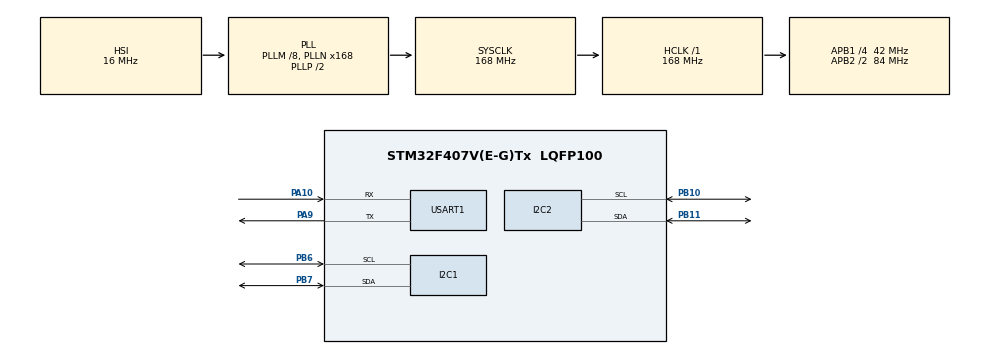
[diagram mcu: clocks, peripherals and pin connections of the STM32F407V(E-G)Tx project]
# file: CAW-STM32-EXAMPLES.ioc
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Dma.I2C2_TX.0.Direction=DMA_MEMORY_TO_PERIPH
Dma.I2C2_TX.0.FIFOMode=DMA_FIFOMODE_DISABLE
Dma.I2C2_TX.0.Instance=DMA1_Stream7
Dma.I2C2_TX.0.MemDataAlignment=DMA_MDATAALIGN_BYTE
Dma.I2C2_TX.0.MemInc=DMA_MINC_ENABLE
Dma.I2C2_TX.0.Mode=DMA_NORMAL
Dma.I2C2_TX.0.PeriphDataAlignment=DMA_PDATAALIGN_BYTE
Dma.I2C2_TX.0.PeriphInc=DMA_PINC_DISABLE
Dma.I2C2_TX.0.Priority=DMA_PRIORITY_LOW
Dma.Request0=I2C2_TX
FREERTOS.Queues01=MPU6050Queue,16,MPU6050_DATA_T,0,Dynamic,NULL,NULL
FREERTOS.Tasks01=defaultTask,24,128,StartDefaultTask,Default,NULL,Dynamic,NULL,NULL;OLEDTask,8,512,StartOLEDTask,Default,NULL,Dynamic,NULL,NULL;MPU6050Task,8,512,StartMPU6050Task,Default,NULL,Dynamic,NULL,NULL
I2C2.I2C_Mode=I2C_Fast
Mcu.Family=STM32F4
Mcu.Name=STM32F407V(E-G)Tx
Mcu.Package=LQFP100
NVIC.DMA1_Stream7_IRQn=true\:5\:0\:false\:false\:true\:true\:false\:true\:true
NVIC.I2C2_EV_IRQn=true\:5\:0\:false\:false\:true\:true\:true\:true\:true
NVIC.PriorityGroup=NVIC_PRIORITYGROUP_4
NVIC.USART1_IRQn=true\:5\:0\:false\:false\:true\:true\:true\:true\:true
PA10.Mode=Asynchronous
PA10.Signal=USART1_RX
PA9.Mode=Asynchronous
PA9.Signal=USART1_TX
PB10.Mode=I2C
PB10.Signal=I2C2_SCL
PB11.Mode=I2C
PB11.Signal=I2C2_SDA
PB6.Mode=I2C
PB6.Signal=I2C1_SCL
PB7.Mode=I2C
PB7.Signal=I2C1_SDA
PH0-OSC_IN.Mode=HSE-External-Oscillator
PH0-OSC_IN.Signal=RCC_OSC_IN
PH1-OSC_OUT.Mode=HSE-External-Oscillator
PH1-OSC_OUT.Signal=RCC_OSC_OUT
ProjectManager.HeapSize=0x200
ProjectManager.StackSize=0x400
ProjectManager.TargetToolchain=Makefile
RCC.48MHZClocksFreq_Value=84000000
RCC.AHBFreq_Value=168000000
RCC.APB1CLKDivider=RCC_HCLK_DIV4
RCC.APB1Freq_Value=42000000
RCC.APB1TimFreq_Value=84000000
RCC.APB2CLKDivider=RCC_HCLK_DIV2
RCC.APB2Freq_Value=84000000
RCC.APB2TimFreq_Value=168000000
RCC.CortexFreq_Value=168000000
RCC.HCLKFreq_Value=168000000
RCC.HSE_VALUE=16000000
RCC.HSI_VALUE=16000000
RCC.LSE_VALUE=32768
RCC.PLLM=8
RCC.PLLN=168
RCC.SYSCLKFreq_VALUE=168000000
RCC.SYSCLKSource=RCC_SYSCLKSOURCE_PLLCLK
RCC.VCOOutputFreq_Value=336000000
USART1.VirtualMode=VM_ASYNC
VP_FREERTOS_VS_CMSIS_V2.Mode=CMSIS_V2
board=custom

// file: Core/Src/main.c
/* USER CODE BEGIN Header */
/**
 ******************************************************************************
 * @file           : main.c
 * @brief          : Main program body
 ******************************************************************************
 * @attention
 *
 * Copyright (c) 2023 STMicroelectronics.
 * All rights reserved.
 *
 * This software is licensed under terms that can be found in the LICENSE file
 * in the root directory of this software component.
 * If no LICENSE file comes with this software, it is provided AS-IS.
 *
 ******************************************************************************
 */
/* USER CODE END Header */
#include "main.h"
#include "cmsis_os.h"
#include "dma.h"
#include "i2c.h"
#include "usart.h"
#include "gpio.h"

/* USER CODE BEGIN Includes */
#include <log.h>
#include <mpu6050.h>
#include <ssd1306.h>
/* USER CODE END Includes */

void SystemClock_Config(void);
void MX_FREERTOS_Init(void);

int main(void)
{

  /* MCU Configuration--------------------------------------------------------*/

  /* Reset of all peripherals, Initializes the Flash interface and the Systick. */
  HAL_Init();

  /* Configure the system clock */
  SystemClock_Config();

  /* Initialize all configured peripherals */
  MX_GPIO_Init();
  MX_DMA_Init();
  MX_USART1_UART_Init();
  MX_I2C1_Init();
  MX_I2C2_Init();
  /* USER CODE BEGIN 2 */
  HAL_Delay(20);
  CAW_LOG_Init(&huart1, LEVEL_DEBUG, true);
  SSD1306_Init(&hi2c2, true);
  MPU6050_Init(&hi2c1, false);

  CAW_LOG_INFO("Init ok...");

  /* USER CODE END 2 */

  /* Init scheduler */
  osKernelInitialize();  /* Call init function for freertos objects (in freertos.c) */
  MX_FREERTOS_Init();

  /* Start scheduler */
  osKernelStart();

  /* We should never get here as control is now taken by the scheduler */
  /* Infinite loop */
  while (1) {

  }
}

void SystemClock_Config(void)
{
  RCC_OscInitTypeDef RCC_OscInitStruct = {0};
  RCC_ClkInitTypeDef RCC_ClkInitStruct = {0};

  /** Configure the main internal regulator output voltage
  */
  __HAL_RCC_PWR_CLK_ENABLE();
  __HAL_PWR_VOLTAGESCALING_CONFIG(PWR_REGULATOR_VOLTAGE_SCALE1);

  /** Initializes the RCC Oscillators according to the specified parameters
  * in the RCC_OscInitTypeDef structure.
  */
  RCC_OscInitStruct.OscillatorType = RCC_OSCILLATORTYPE_HSI;
  RCC_OscInitStruct.HSIState = RCC_HSI_ON;
  RCC_OscInitStruct.HSICalibrationValue = RCC_HSICALIBRATION_DEFAULT;
  RCC_OscInitStruct.PLL.PLLState = RCC_PLL_ON;
  RCC_OscInitStruct.PLL.PLLSource = RCC_PLLSOURCE_HSI;
  RCC_OscInitStruct.PLL.PLLM = 8;
  RCC_OscInitStruct.PLL.PLLN = 168;
  RCC_OscInitStruct.PLL.PLLP = RCC_PLLP_DIV2;
  RCC_OscInitStruct.PLL.PLLQ = 4;
  if (HAL_RCC_OscConfig(&RCC_OscInitStruct) != HAL_OK)
  {
    Error_Handler();
  }

  /** Initializes the CPU, AHB and APB buses clocks
  */
  RCC_ClkInitStruct.ClockType = RCC_CLOCKTYPE_HCLK|RCC_CLOCKTYPE_SYSCLK
                              |RCC_CLOCKTYPE_PCLK1|RCC_CLOCKTYPE_PCLK2;
  RCC_ClkInitStruct.SYSCLKSource = RCC_SYSCLKSOURCE_PLLCLK;
  RCC_ClkInitStruct.AHBCLKDivider = RCC_SYSCLK_DIV1;
  RCC_ClkInitStruct.APB1CLKDivider = RCC_HCLK_DIV4;
  RCC_ClkInitStruct.APB2CLKDivider = RCC_HCLK_DIV2;

  if (HAL_RCC_ClockConfig(&RCC_ClkInitStruct, FLASH_LATENCY_5) != HAL_OK)
  {
    Error_Handler();
  }
}

void Error_Handler(void)
{
  __disable_irq();
  while (1) {
  }
}

#ifdef  USE_FULL_ASSERT
/**
  * @brief  Reports the name of the source file and the source line number
  *         where the assert_param error has occurred.
  * @param  file: pointer to the source file name
  * @param  line: assert_param error line source number
  * @retval None
  */
void assert_failed(uint8_t *file, uint32_t line)
{
  /* USER CODE BEGIN 6 */
  /* User can add his own implementation to report the file name and line
     number, ex: printf("Wrong parameters value: file %s on line %d\r\n", file,
     line) */
  /* USER CODE END 6 */
}
#endif /* USE_FULL_ASSERT */

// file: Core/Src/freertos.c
/* USER CODE BEGIN Header */
/**
 ******************************************************************************
 * File Name          : freertos.c
 * Description        : Code for freertos applications
 ******************************************************************************
 * @attention
 *
 * Copyright (c) 2023 STMicroelectronics.
 * All rights reserved.
 *
 * This software is licensed under terms that can be found in the LICENSE file
 * in the root directory of this software component.
 * If no LICENSE file comes with this software, it is provided AS-IS.
 *
 ******************************************************************************
 */
/* USER CODE END Header */

#include "FreeRTOS.h"

#include "cmsis_os.h"
#include "main.h"
#include "task.h"

/* USER CODE BEGIN Includes */
#include "log.h"
#include "mpu6050.h"
#include "queue.h"
#include "ssd1306.h"
/* USER CODE END Includes */

/* Definitions for defaultTask */
osThreadId_t defaultTaskHandle;
const osThreadAttr_t defaultTask_attributes = {
    .name = "defaultTask",
    .stack_size = 128 * 4,
    .priority = (osPriority_t)osPriorityNormal,
};
/* Definitions for OLEDTask */
osThreadId_t OLEDTaskHandle;
const osThreadAttr_t OLEDTask_attributes = {
    .name = "OLEDTask",
    .stack_size = 512 * 4,
    .priority = (osPriority_t)osPriorityLow,
};
/* Definitions for MPU6050Task */
osThreadId_t MPU6050TaskHandle;
const osThreadAttr_t MPU6050Task_attributes = {
    .name = "MPU6050Task",
    .stack_size = 512 * 4,
    .priority = (osPriority_t)osPriorityLow,
};
/* Definitions for MPU6050Queue */
osMessageQueueId_t MPU6050QueueHandle;
const osMessageQueueAttr_t MPU6050Queue_attributes = {.name = "MPU6050Queue"};

void StartDefaultTask(void *argument);
void StartOLEDTask(void *argument);
void StartMPU6050Task(void *argument);

void MX_FREERTOS_Init(void); /* (MISRA C 2004 rule 8.1) */

void MX_FREERTOS_Init(void) {

  /* Create the queue(s) */
  /* creation of MPU6050Queue */
  MPU6050QueueHandle =
      osMessageQueueNew(16, sizeof(MPU6050_DATA_T), &MPU6050Queue_attributes);

  /* Create the thread(s) */
  /* creation of defaultTask */
  defaultTaskHandle =
      osThreadNew(StartDefaultTask, NULL, &defaultTask_attributes);

  /* creation of OLEDTask */
  OLEDTaskHandle = osThreadNew(StartOLEDTask, NULL, &OLEDTask_attributes);

  /* creation of MPU6050Task */
  MPU6050TaskHandle =
      osThreadNew(StartMPU6050Task, NULL, &MPU6050Task_attributes);

}

void StartDefaultTask(void *argument) {
  for (;;) {
    osDelay(1);
  }
}

void StartOLEDTask(void *argument) {
  /* USER CODE BEGIN StartOLEDTask */
  MPU6050_DATA_T data;
  BaseType_t ret;
  /* Infinite loop */
  for (;;) {
    ret = xQueueReceive(MPU6050QueueHandle, &data, portMAX_DELAY);
    if (ret == pdTRUE) {
      CAW_LOG_INFO("pitch: %f, roll: %f, yaw: %f", data.pitch, data.roll,
                   data.yaw);
      SSD1306_Fill(0x00);
      SSD1306_Printf(5, 5, FONT_6x8, "MPU6050 Data:");
      SSD1306_Printf(5, 30, FONT_6x8, "pitch: %.2f", data.pitch);
      SSD1306_Printf(5, 40, FONT_6x8, "roll: %.2f", data.roll);
      SSD1306_Printf(5, 50, FONT_6x8, "yaw: %.2f", data.yaw);
      SSD1306_Update();
    }
    osDelay(1);
  }
  /* USER CODE END StartOLEDTask */
}

void StartMPU6050Task(void *argument) {
  /* USER CODE BEGIN StartMPU6050Task */
  /* Infinite loop */
  for (;;) {
    MPU6050_DATA_T data;
    if (MPU6050_GetData(&(data.pitch), &(data.roll), &(data.yaw)) == 0) {
      xQueueSend(MPU6050QueueHandle, &data, 0);
    }
    osDelay(1);
  }
  /* USER CODE END StartMPU6050Task */
}
